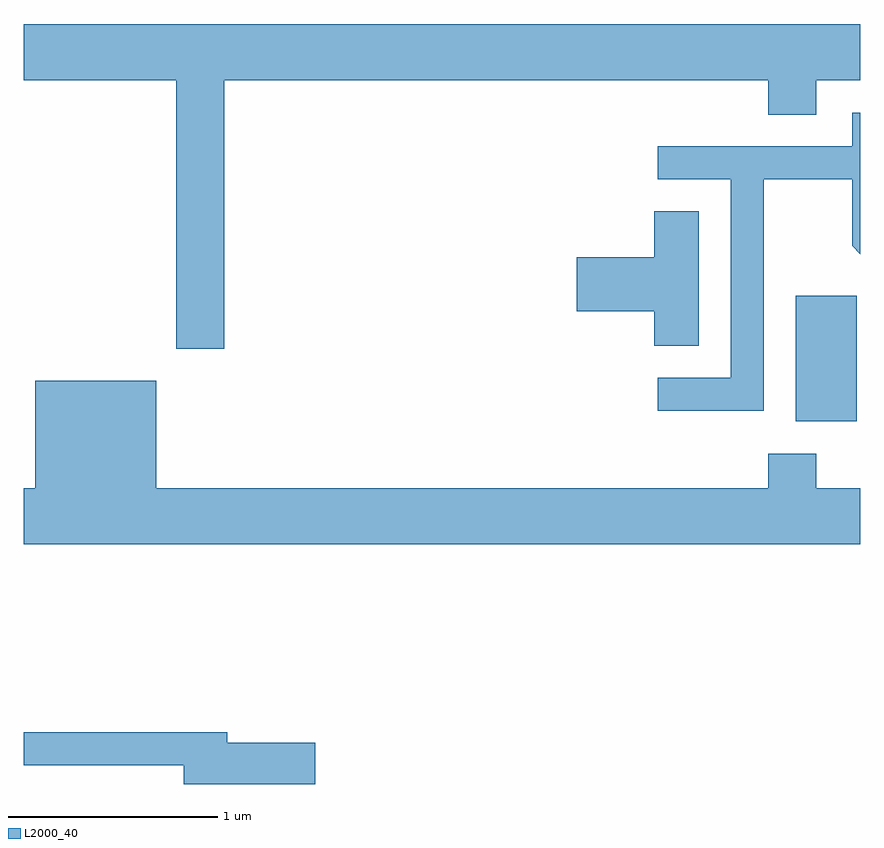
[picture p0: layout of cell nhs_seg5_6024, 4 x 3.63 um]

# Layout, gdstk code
import gdstk
lib = gdstk.Library(unit=1e-6, precision=1e-09)
def R(c, l, rs):  # rectangles x0, y0, x1, y1
    for r in rs: c.add(gdstk.rectangle(r[:2], r[2:], *l))
def P(c, l, *ps):  # polygons
    for p in ps: c.add(gdstk.Polygon(p, *l))
L2000_40 = (2000, 40)

nhs_seg5_6024 = lib.new_cell('nhs_seg5_6024')
R(nhs_seg5_6024, L2000_40, [(367.301,1464.046,367.594,1464.644)])
P(nhs_seg5_6024, L2000_40, [(364.569,1465.676),(367.171,1465.676),(367.171,1465.511),(367.399,1465.511),(367.399,1465.676),(367.611,1465.676),(367.611,1465.944),(363.611,1465.944),(363.611,1465.676),(364.341,1465.676),(364.341,1464.391),(364.569,1464.391)],
  [(367.149,1465.201),(367.571,1465.201),(367.571,1464.884),(367.611,1464.844),(367.611,1465.519),(367.571,1465.519),(367.571,1465.359),(366.643,1465.359),(366.643,1465.201),(366.991,1465.201),(366.991,1464.254),(366.643,1464.254),(366.643,1464.096),(367.149,1464.096)],
  [(366.839,1465.049),(366.626,1465.049),(366.626,1464.829),(366.256,1464.829),(366.256,1464.571),(366.626,1464.571),(366.626,1464.406),(366.839,1464.406)],
  [(367.611,1463.724),(367.399,1463.724),(367.399,1463.889),(367.171,1463.889),(367.171,1463.724),(364.244,1463.724),(364.244,1464.239),(363.666,1464.239),(363.666,1463.724),(363.611,1463.724),(363.611,1463.456),(367.611,1463.456)],
  [(365.004,1462.509),(364.584,1462.509),(364.584,1462.559),(363.611,1462.559),(363.611,1462.401),(364.376,1462.401),(364.376,1462.311),(365.004,1462.311)])

lib.write_gds('nhs_seg5_6024.gds')
